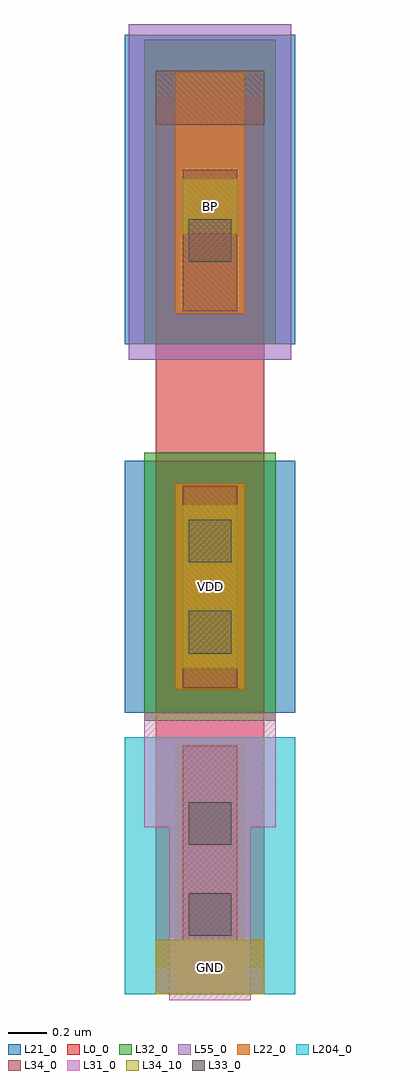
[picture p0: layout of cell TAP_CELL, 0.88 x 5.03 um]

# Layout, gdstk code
import gdstk
lib = gdstk.Library(unit=1e-6, precision=1e-09)
def R(c, l, rs):  # rectangles x0, y0, x1, y1
    for r in rs: c.add(gdstk.rectangle(r[:2], r[2:], *l))
L0_0 = (0, 0)
L21_0 = (21, 0)
L22_0 = (22, 0)
L31_0 = (31, 0)
L32_0 = (32, 0)
L33_0 = (33, 0)
L34_0 = (34, 0)
L34_10 = (34, 10)
L55_0 = (55, 0)
L204_0 = (204, 0)

tap_cell = lib.new_cell('TAP_CELL')
R(tap_cell, L0_0, [(0,0,0.56,4.48)])
R(tap_cell, L21_0, [(-0.16,1.31,0.72,2.61), (-0.16,3.21,0.72,4.805)])
R(tap_cell, L22_0, [(0.1,-0.14,0.46,1.15), (0.1,1.43,0.46,2.49), (0.1,3.37,0.46,4.62)])
R(tap_cell, L31_0, [(0.07,-0.17,0.49,0.72), (-0.06,0.72,0.62,1.31)])
R(tap_cell, L32_0, [(-0.06,1.27,0.62,2.65), (-0.06,3.21,0.62,4.78)])
R(tap_cell, L33_0, [(0.17,0.16,0.39,0.38), (0.17,0.63,0.39,0.85), (0.17,1.615,0.39,1.835), (0.17,2.085,0.39,2.305), (0.17,3.635,0.39,3.855)])
R(tap_cell, L34_0, [(0,-0.14,0.56,0.14), (0.14,0.14,0.42,1.14), (0.14,1.44,0.42,2.48), (0.14,3.38,0.42,4.11), (0,4.34,0.56,4.62)])
R(tap_cell, L34_10, [(0,-0.14,0.56,0.14), (0.14,1.54,0.42,2.38), (0.14,3.78,0.42,4.06)])
R(tap_cell, L55_0, [(-0.14,3.13,0.7,4.86)])
R(tap_cell, L204_0, [(-0.16,-0.14,0.72,1.185)])
tap_cell.add(gdstk.Label('VDD', (0.28,1.96), layer=34, texttype=10))
tap_cell.add(gdstk.Label('GND', (0.28,0), layer=34, texttype=10))
tap_cell.add(gdstk.Label('BP', (0.28,3.92), layer=34, texttype=10))

lib.write_gds('TAP_CELL.gds')
